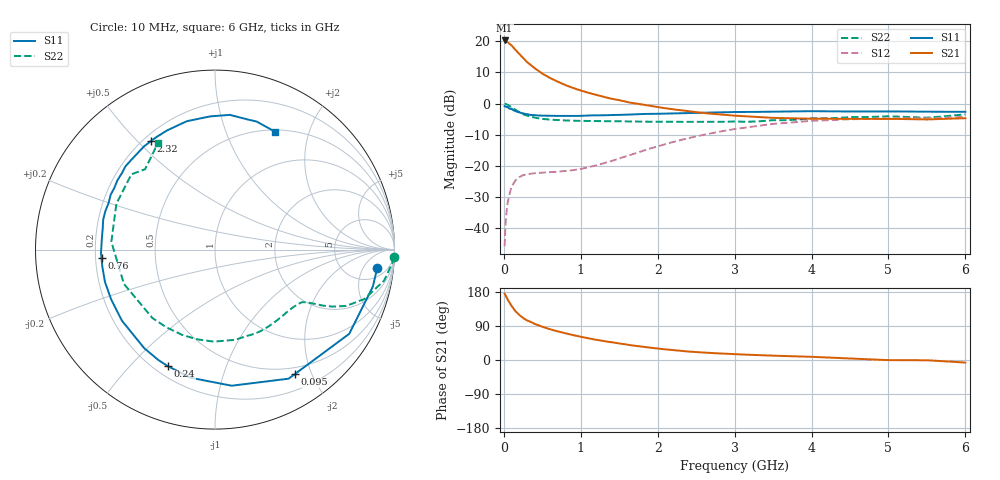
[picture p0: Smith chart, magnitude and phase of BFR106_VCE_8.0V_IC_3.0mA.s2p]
! Infineon Technologies  Discrete & RF Semiconductors
! BFR106
! VCE =  8.0 V,  IC =  3.0 mA
! Common Emitter S-Parameters:  Nov 2015
# GHz  S  MA  R  50
!  f  S11  S21  S12  S22
! GHz  MAG  ANG  MAG  ANG  MAG  ANG  MAG  ANG
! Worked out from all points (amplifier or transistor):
!   210 points, 10 MHz to 6 GHz, reference 50 ohm
!   highest |S21| = 20.2 dB at 10 MHz (marker M1)
!   |S21| within 3 dB of that: start of sweep to 150.4 MHz
!   unconditionally stable (mu >= 1): 714.7 MHz to 1.794 GHz; 4.497 GHz to end of sweep
!   at 185 MHz: K = 0.29, MSG = 20.1 dB, |S12| = -23.9 dB
!   at 1.52 GHz: K = 1.13, MAG = 7.0 dB, |S12| = -17.4 dB
!   at 6 GHz: K = 1.02, MAG = -1.1 dB, |S12| = -4.3 dB
!   S11 on the Smith chart (normalised r, x): 10 MHz: 9, -10; 95 MHz: 0.41, -1.76; 240 MHz: 0.25, -0.64; 760 MHz: 0.22, -0.04; 2.32 GHz: 0.23, +0.55; 6 GHz: 0.52, +1.50
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0.01  0.9097 -6.5  10.25 175.1  0.0052 89.5  0.9975 -2.3
0.025  0.8932 -16.3  9.991 169.7  0.0132 79.2  0.984 -5.4
0.05  0.8829 -32.1  9.643 159.1  0.0261 72.7  0.9578 -10.4
0.095  0.824 -57.4  8.637 144.5  0.044 60.7  0.8842 -17.4
0.1  0.8279 -60.3  8.564 142.7  0.0461 60.0  0.8769 -18.3
0.15  0.7641 -83.0  7.264 128.6  0.0586 49.0  0.7941 -23.3
0.2  0.7269 -100.8  6.256 119.0  0.0663 43.1  0.7278 -25.9
0.24  0.7004 -112.0  5.527 112.5  0.0703 39.4  0.6847 -27.2
0.3  0.6761 -125.7  4.645 104.7  0.0736 36.4  0.6402 -28.4
0.4  0.6525 -142.6  3.692 95.2  0.077 33.6  0.5937 -29.7
0.5  0.6417 -154.3  3.02 87.4  0.0781 33.6  0.5669 -31.1
0.54  0.6386 -158.0  2.835 85.0  0.0788 34.2  0.5614 -31.9
0.6  0.639 -163.6  2.569 80.9  0.0798 35.2  0.5533 -33.2
0.76  0.6342 -175.6  2.076 72.5  0.0822 40.1  0.5396 -37.0
1.02  0.6367 169.2  1.589 60.5  0.0907 50.8  0.5273 -44.4
1.4  0.6566 152.3  1.195 46.8  0.1202 64.4  0.5221 -57.4
2.02  0.6865 130.2  0.869 29.7  0.2097 69.3  0.5113 -82.9
2.32  0.7018 120.6  0.776 23.8  0.2645 66.6  0.5089 -97.2
3.1  0.7326 100.1  0.63 14.5  0.4059 52.0  0.5124 -138.0
4.1  0.7528 82.4  0.571 7.5  0.5345 29.6  0.5783 171.5
5.1  0.7478 71.0  0.567 -0.4  0.5782 11.5  0.6194 136.7
6  0.7371 63.2  0.583 -6.7  0.6119 -0.3  0.6723 118.3
